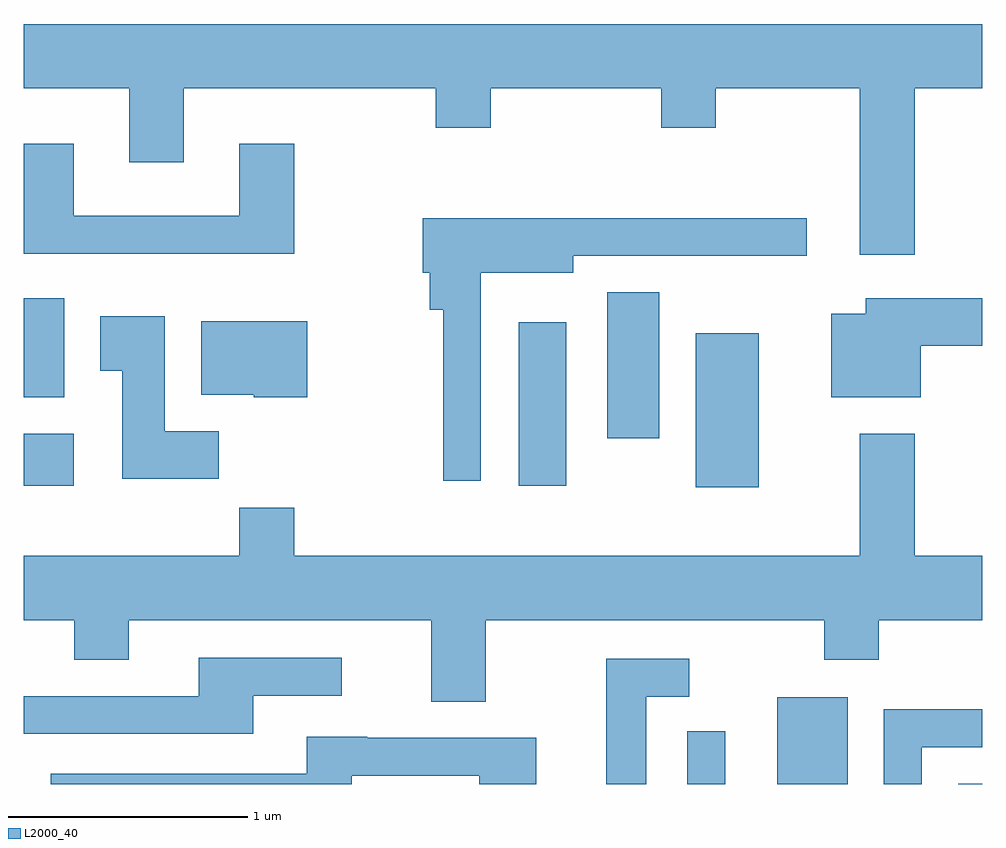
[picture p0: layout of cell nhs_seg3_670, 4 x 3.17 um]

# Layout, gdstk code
import gdstk
lib = gdstk.Library(unit=1e-6, precision=1e-09)
def R(c, l, rs):  # rectangles x0, y0, x1, y1
    for r in rs: c.add(gdstk.rectangle(r[:2], r[2:], *l))
def P(c, l, *ps):  # polygons
    for p in ps: c.add(gdstk.Polygon(p, *l))
L2000_40 = (2000, 40)

nhs_seg3_670 = lib.new_cell('nhs_seg3_670')
R(nhs_seg3_670, L2000_40, [(206.381,1231.892,206.539,1232.113), (206.756,1231.892,207.049,1232.254), (207.511,1231.892,207.611,1231.894), (206.416,1233.131,206.679,1233.774), (203.611,1233.136,203.819,1233.354), (205.676,1233.136,205.874,1233.819), (206.046,1233.336,206.264,1233.944), (203.611,1233.506,203.779,1233.919)])
P(nhs_seg3_670, L2000_40, [(207.329,1234.796),(207.611,1234.796),(207.611,1235.064),(203.611,1235.064),(203.611,1234.796),(204.051,1234.796),(204.051,1234.486),(204.279,1234.486),(204.279,1234.796),(205.331,1234.796),(205.331,1234.631),(205.559,1234.631),(205.559,1234.796),(206.271,1234.796),(206.271,1234.631),(206.499,1234.631),(206.499,1234.796),(207.101,1234.796),(207.101,1234.101),(207.329,1234.101)],
  [(204.739,1234.564),(204.511,1234.564),(204.511,1234.264),(203.819,1234.264),(203.819,1234.564),(203.611,1234.564),(203.611,1234.106),(204.739,1234.106)],
  [(205.519,1234.026),(205.904,1234.026),(205.904,1234.096),(206.878,1234.096),(206.878,1234.254),(205.276,1234.254),(205.276,1234.026),(205.306,1234.026),(205.306,1233.871),(205.361,1233.871),(205.361,1233.158),(205.519,1233.158)],
  [(207.354,1233.721),(207.611,1233.721),(207.611,1233.919),(207.126,1233.919),(207.126,1233.854),(206.981,1233.854),(206.981,1233.506),(207.354,1233.506)],
  [(204.424,1233.364),(204.199,1233.364),(204.199,1233.844),(203.931,1233.844),(203.931,1233.616),(204.021,1233.616),(204.021,1233.166),(204.424,1233.166)],
  [(204.794,1233.824),(204.351,1233.824),(204.351,1233.516),(204.57,1233.516),(204.57,1233.506),(204.794,1233.506)],
  [(205.539,1232.576),(206.951,1232.576),(206.951,1232.411),(207.179,1232.411),(207.179,1232.576),(207.611,1232.576),(207.611,1232.844),(207.329,1232.844),(207.329,1233.354),(207.101,1233.354),(207.101,1232.844),(204.739,1232.844),(204.739,1233.044),(204.511,1233.044),(204.511,1232.844),(203.611,1232.844),(203.611,1232.576),(203.821,1232.576),(203.821,1232.411),(204.049,1232.411),(204.049,1232.576),(205.311,1232.576),(205.311,1232.236),(205.539,1232.236)],
  [(204.569,1232.261),(204.938,1232.261),(204.938,1232.419),(204.341,1232.419),(204.341,1232.259),(203.611,1232.259),(203.611,1232.101),(204.569,1232.101)],
  [(206.209,1232.256),(206.388,1232.256),(206.388,1232.414),(206.041,1232.414),(206.041,1231.892),(206.209,1231.892)],
  [(207.359,1232.046),(207.611,1232.046),(207.611,1232.204),(207.201,1232.204),(207.201,1231.892),(207.359,1231.892)],
  [(204.979,1231.926),(205.511,1231.926),(205.511,1231.892),(205.749,1231.892),(205.749,1232.084),(205.045,1232.084),(205.045,1232.089),(204.791,1232.089),(204.791,1231.934),(203.723,1231.934),(203.723,1231.892),(204.979,1231.892)])

lib.write_gds('nhs_seg3_670.gds')
